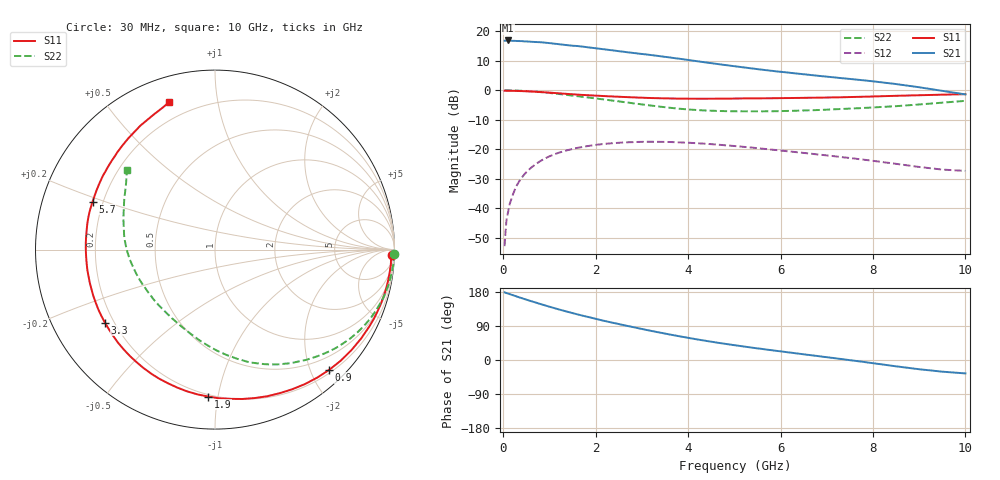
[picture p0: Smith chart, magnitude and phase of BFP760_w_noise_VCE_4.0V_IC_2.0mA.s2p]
! Infineon Technologies  Discrete & RF Semiconductors
! BFP760
! VCE =  4.0 V,  IC =  2.0 mA
! Common Emitter S-Parameters:  Nov 2012
# GHz  S  MA  R  50
!  f  S11  S21  S12  S22
! GHz  MAG  ANG  MAG  ANG  MAG  ANG  MAG  ANG
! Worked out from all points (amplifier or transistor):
!   99 points, 30 MHz to 10 GHz, reference 50 ohm
!   highest |S21| = 16.9 dB at 110 MHz (marker M1)
!   |S21| within 3 dB of that: start of sweep to 2.187 GHz
!   unconditionally stable (mu >= 1): 7.162 GHz to end of sweep
!   at 350 MHz: K = 0.05, MSG = 23.7 dB, |S12| = -30.7 dB
!   at 3.5 GHz: K = 0.32, MSG = 14.4 dB, |S12| = -17.5 dB
!   at 10 GHz: K = 1.67, MAG = 8.2 dB, |S12| = -27.3 dB
!   lowest NFmin = 0.46 dB at 900 MHz
!   S11 on the Smith chart (normalised r, x): 30 MHz: 28, -52; 900 MHz: 0.25, -2.30; 1.9 GHz: 0.19, -0.94; 3.3 GHz: 0.17, -0.29; 5.7 GHz: 0.16, +0.18; 10 GHz: 0.12, +0.73
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0.03  0.9841 -1.7  6.89 178.5  0.0023 88.5  0.9998 -1.3
0.07  0.9824 -3.7  6.964 176.6  0.0063 79.8  0.9982 -2.4
0.11  0.982 -5.8  6.971 175.0  0.009 84.0  0.9977 -3.8
0.2  0.9796 -10.5  6.869 171.4  0.0164 82.3  0.9939 -7.0
0.35  0.9717 -18.4  6.804 165.2  0.0291 77.3  0.9853 -12.1
0.6  0.9533 -31.2  6.626 155.4  0.0487 68.6  0.9596 -20.5
0.9  0.9239 -46.5  6.403 144.3  0.07 58.4  0.9177 -30.2
1.2  0.8893 -61.0  6.033 133.6  0.0876 48.9  0.8662 -39.5
1.7  0.8357 -84.2  5.496 117.5  0.1093 35.0  0.7774 -53.3
1.9  0.8197 -92.7  5.254 111.7  0.116 30.0  0.7444 -58.7
2.2  0.7969 -105.4  4.922 102.9  0.1239 22.5  0.6955 -66.6
2.6  0.7709 -121.0  4.493 92.2  0.1306 13.5  0.6331 -76.4
3  0.7493 -135.9  4.118 81.9  0.1341 5.3  0.5767 -86.2
3.3  0.7361 -146.5  3.858 74.5  0.1344 -0.5  0.539 -93.6
3.4  0.7329 -149.9  3.771 72.1  0.134 -2.4  0.5277 -96.1
3.8  0.7226 -162.5  3.426 62.9  0.1315 -9.4  0.4886 -106.0
4.2  0.7192 -173.5  3.101 54.3  0.1269 -15.7  0.4627 -115.6
5.1  0.7266 167.6  2.498 37.4  0.1122 -27.1  0.4409 -134.4
5.7  0.7327 158.6  2.184 27.5  0.1011 -32.7  0.4413 -145.4
6.7  0.7486 145.9  1.797 12.0  0.0838 -38.5  0.4604 -164.1
8.5  0.8063 121.0  1.275 -16.7  0.0569 -40.9  0.5386 161.4
10  0.8598 107.3  0.852 -35.4  0.0432 -25.3  0.6622 137.8
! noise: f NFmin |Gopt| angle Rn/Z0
0.9  0.46  0.62  27  0.22
1.8  0.6  0.52  57  0.18
2.4  0.73  0.48  77  0.16
3.5  0.93  0.42  109  0.14
5.5  1.34  0.44  -164  0.08
8  2.21  0.57  -108  0.43
